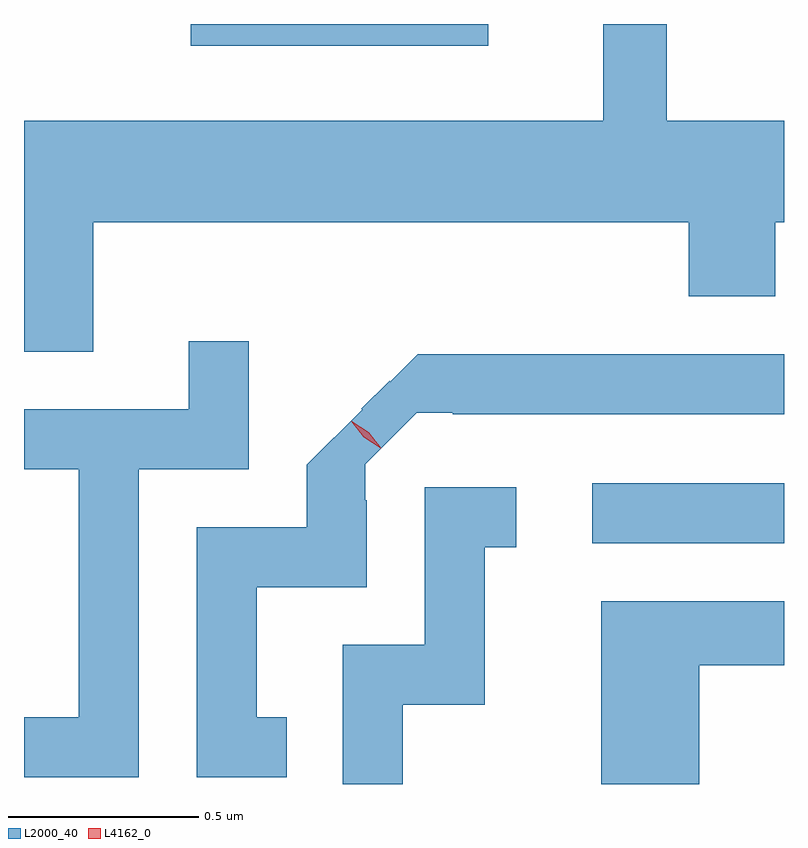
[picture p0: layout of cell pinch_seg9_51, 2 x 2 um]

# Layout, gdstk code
import gdstk
lib = gdstk.Library(unit=1e-6, precision=1e-09)
def R(c, l, rs):  # rectangles x0, y0, x1, y1
    for r in rs: c.add(gdstk.rectangle(r[:2], r[2:], *l))
def P(c, l, *ps):  # polygons
    for p in ps: c.add(gdstk.Polygon(p, *l))
L2000_40 = (2000, 40)
L4162_0 = (4162, 0)

pinch_seg9_51 = lib.new_cell('pinch_seg9_51')
R(pinch_seg9_51, L2000_40, [(651.473,2024.271,651.977,2024.429), (650.416,2025.581,651.199,2025.638)])
P(pinch_seg9_51, L2000_40, [(649.977,2024.776),(650.159,2024.776),(650.159,2025.116),(651.726,2025.116),(651.726,2024.921),(651.954,2024.921),(651.954,2025.116),(651.977,2025.116),(651.977,2025.384),(651.669,2025.384),(651.669,2025.638),(651.501,2025.638),(651.501,2025.384),(649.977,2025.384)],
  [(650.279,2024.466),(650.569,2024.466),(650.569,2024.803),(650.411,2024.803),(650.411,2024.624),(649.977,2024.624),(649.977,2024.466),(650.121,2024.466),(650.121,2023.814),(649.977,2023.814),(649.977,2023.656),(650.279,2023.656)],
  [(650.668,2023.814),(650.589,2023.814),(650.589,2024.156),(650.879,2024.156),(650.879,2024.385),(650.875,2024.385),(650.875,2024.48),(651.011,2024.615),(651.105,2024.615),(651.105,2024.611),(651.977,2024.611),(651.977,2024.769),(651.013,2024.769),(650.941,2024.697),(650.939,2024.699),(650.865,2024.625),(650.867,2024.623),(650.721,2024.478),(650.721,2024.314),(650.431,2024.314),(650.431,2023.656),(650.668,2023.656)],
  [(650.974,2023.846),(651.189,2023.846),(651.189,2024.261),(651.273,2024.261),(651.273,2024.419),(651.031,2024.419),(651.031,2024.004),(650.816,2024.004),(650.816,2023.638),(650.974,2023.638)],
  [(651.754,2023.951),(651.977,2023.951),(651.977,2024.119),(651.496,2024.119),(651.496,2023.638),(651.754,2023.638)])
P(pinch_seg9_51, L4162_0, [(650.916,2024.521),(650.871,2024.55),(650.838,2024.592),(650.838,2024.593),(650.839,2024.593),(650.884,2024.564),(650.917,2024.522),(650.917,2024.521)])

lib.write_gds('pinch_seg9_51.gds')
